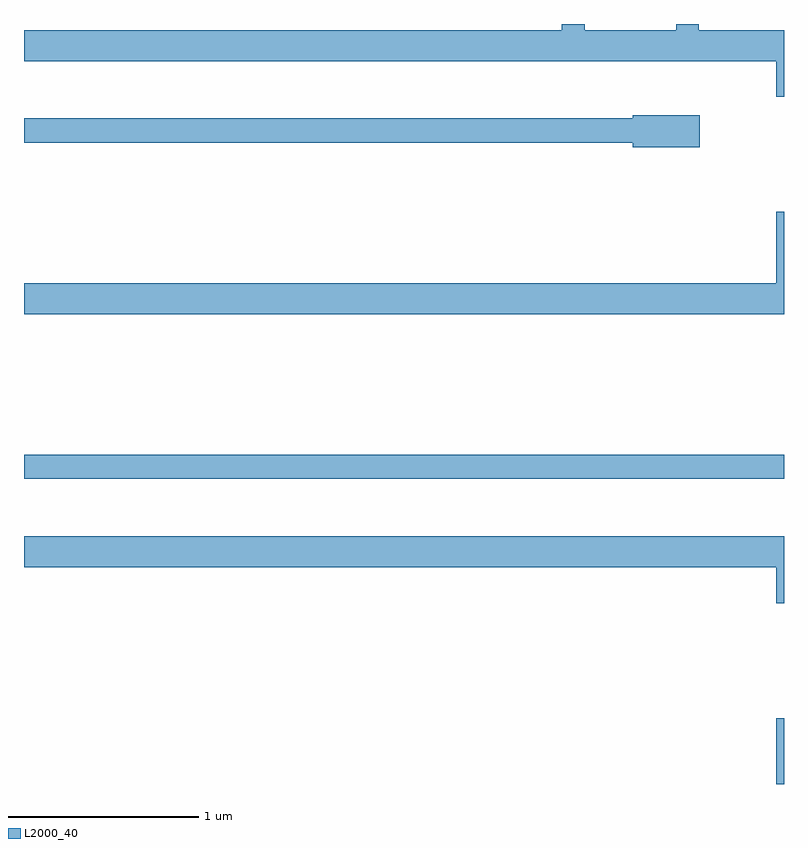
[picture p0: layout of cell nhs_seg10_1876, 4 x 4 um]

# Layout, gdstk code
import gdstk
lib = gdstk.Library(unit=1e-6, precision=1e-09)
def R(c, l, rs):  # rectangles x0, y0, x1, y1
    for r in rs: c.add(gdstk.rectangle(r[:2], r[2:], *l))
def P(c, l, *ps):  # polygons
    for p in ps: c.add(gdstk.Polygon(p, *l))
L2000_40 = (2000, 40)

nhs_seg10_1876 = lib.new_cell('nhs_seg10_1876')
R(nhs_seg10_1876, L2000_40, [(212.96,1308.5,213,1308.847), (209,1310.106,213,1310.234)])
P(nhs_seg10_1876, L2000_40, [(213,1312.468),(212.552,1312.468),(212.552,1312.5),(212.434,1312.5),(212.434,1312.468),(211.95,1312.468),(211.95,1312.5),(211.831,1312.5),(211.831,1312.468),(209,1312.468),(209,1312.304),(212.96,1312.304),(212.96,1312.116),(213,1312.116)],
  [(212.557,1312.021),(212.204,1312.021),(212.204,1312.003),(209,1312.003),(209,1311.874),(212.204,1311.874),(212.204,1311.851),(212.557,1311.851)],
  [(213,1311.511),(212.96,1311.511),(212.96,1311.136),(209,1311.136),(209,1310.972),(213,1310.972)],
  [(213,1309.804),(209,1309.804),(209,1309.64),(212.96,1309.64),(212.96,1309.452),(213,1309.452)])

lib.write_gds('nhs_seg10_1876.gds')
